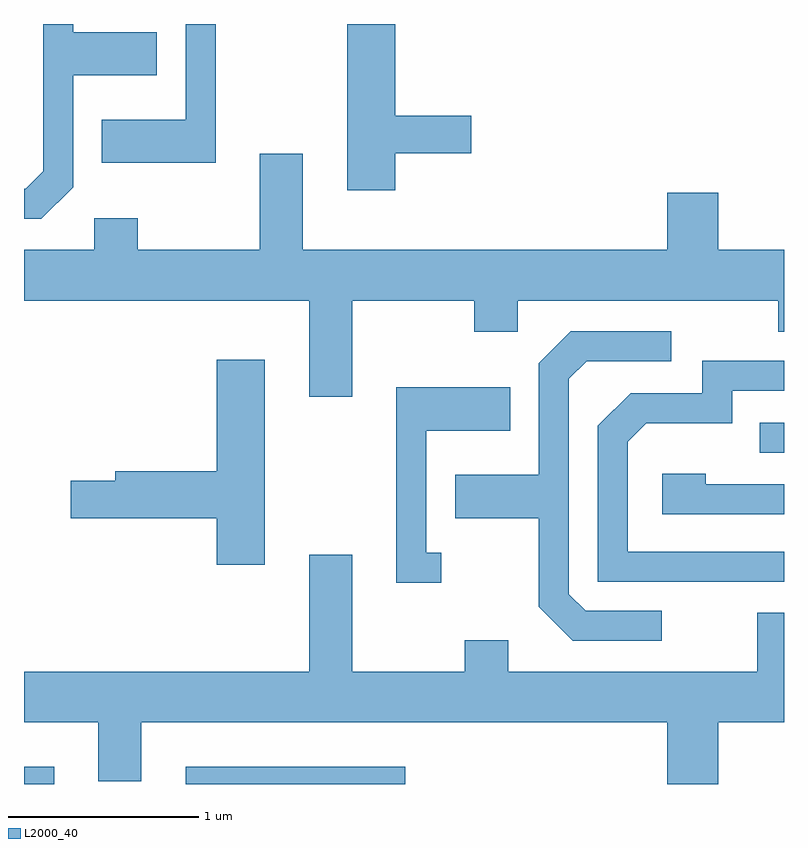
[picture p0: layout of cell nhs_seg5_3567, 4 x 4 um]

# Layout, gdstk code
import gdstk
lib = gdstk.Library(unit=1e-6, precision=1e-09)
def R(c, l, rs):  # rectangles x0, y0, x1, y1
    for r in rs: c.add(gdstk.rectangle(r[:2], r[2:], *l))
def P(c, l, *ps):  # polygons
    for p in ps: c.add(gdstk.Polygon(p, *l))
L2000_40 = (2000, 40)

nhs_seg5_3567 = lib.new_cell('nhs_seg5_3567')
R(nhs_seg5_3567, L2000_40, [(291.611,1412.072,291.769,1412.164), (292.461,1412.072,293.618,1412.164), (295.483,1413.816,295.611,1413.974)])
P(nhs_seg5_3567, L2000_40, [(291.869,1415.214),(291.869,1415.801),(292.309,1415.801),(292.309,1416.029),(291.869,1416.029),(291.869,1416.072),(291.711,1416.072),(291.711,1415.297),(291.619,1415.204),(291.611,1415.204),(291.611,1415.046),(291.702,1415.046)],
  [(292.619,1416.072),(292.461,1416.072),(292.461,1415.569),(292.021,1415.569),(292.021,1415.341),(292.619,1415.341)],
  [(293.564,1415.391),(293.964,1415.391),(293.964,1415.589),(293.564,1415.589),(293.564,1416.072),(293.311,1416.072),(293.311,1415.196),(293.564,1415.196)],
  [(293.339,1414.616),(293.981,1414.616),(293.981,1414.451),(294.209,1414.451),(294.209,1414.616),(295.581,1414.616),(295.581,1414.451),(295.611,1414.451),(295.611,1414.884),(295.264,1414.884),(295.264,1415.184),(294.996,1415.184),(294.996,1414.884),(293.079,1414.884),(293.079,1415.389),(292.851,1415.389),(292.851,1414.884),(292.209,1414.884),(292.209,1415.049),(291.981,1415.049),(291.981,1414.884),(291.611,1414.884),(291.611,1414.616),(293.111,1414.616),(293.111,1414.111),(293.339,1414.111)],
  [(294.968,1412.984),(294.567,1412.984),(294.479,1413.072),(294.479,1414.204),(294.572,1414.296),(295.018,1414.296),(295.018,1414.454),(294.489,1414.454),(294.321,1414.287),(294.321,1413.699),(293.881,1413.699),(293.881,1413.471),(294.321,1413.471),(294.321,1413.004),(294.499,1412.826),(294.968,1412.826)],
  [(292.879,1414.304),(292.626,1414.304),(292.626,1413.719),(292.091,1413.719),(292.091,1413.669),(291.856,1413.669),(291.856,1413.471),(292.626,1413.471),(292.626,1413.226),(292.879,1413.226)],
  [(295.611,1413.294),(294.789,1413.294),(294.789,1413.874),(294.887,1413.971),(295.339,1413.971),(295.339,1414.141),(295.611,1414.141),(295.611,1414.299),(295.181,1414.299),(295.181,1414.129),(294.804,1414.129),(294.631,1413.957),(294.631,1413.136),(295.611,1413.136)],
  [(293.808,1413.289),(293.729,1413.289),(293.729,1413.931),(294.169,1413.931),(294.169,1414.159),(293.571,1414.159),(293.571,1413.131),(293.808,1413.131)],
  [(295.611,1413.649),(295.199,1413.649),(295.199,1413.704),(294.971,1413.704),(294.971,1413.491),(295.611,1413.491)],
  [(295.264,1412.396),(295.611,1412.396),(295.611,1412.974),(295.471,1412.974),(295.471,1412.664),(294.159,1412.664),(294.159,1412.829),(293.931,1412.829),(293.931,1412.664),(293.339,1412.664),(293.339,1413.279),(293.111,1413.279),(293.111,1412.664),(291.611,1412.664),(291.611,1412.396),(292.001,1412.396),(292.001,1412.086),(292.229,1412.086),(292.229,1412.396),(294.996,1412.396),(294.996,1412.072),(295.264,1412.072)])

lib.write_gds('nhs_seg5_3567.gds')
